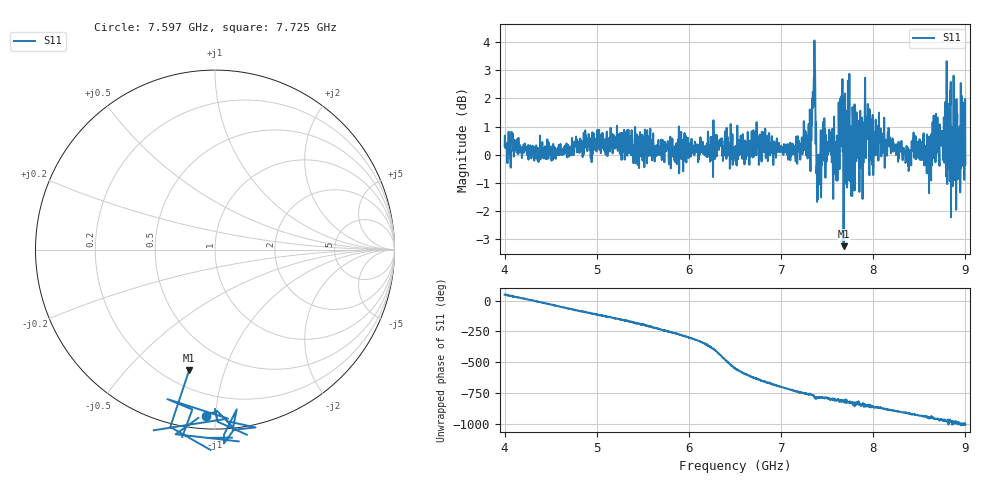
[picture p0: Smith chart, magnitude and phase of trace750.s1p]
! Created with skrf 1.8.0 (http://scikit-rf.org).
# Hz S RI R 50.0
!freq ReS11 ImS11
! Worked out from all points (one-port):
!   1601 points, 4 GHz to 9 GHz, reference 50 ohm
!   lowest |S11| = -3.3 dB at 7.678 GHz (marker M1), VSWR 5.39, Z = 15 - j38.2 ohm
!   |S11| at or under -10 dB: nowhere
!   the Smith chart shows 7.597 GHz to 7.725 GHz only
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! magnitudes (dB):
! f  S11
! 4 GHz  0.3
! 4.625 GHz  0.0
! 5.25 GHz  0.0
! 5.875 GHz  0.3
! 6.331 GHz  0.4
! 6.5 GHz  -0.1
! 6.725 GHz  0.6
! 7.125 GHz  0.4
! 7.294 GHz  0.3
! 7.347 GHz  2.1
! 7.362 GHz  4.1
! 7.409 GHz  -0.8
! 7.478 GHz  0.9
! 7.588 GHz  0.0
! 7.65 GHz  1.3
! 7.678 GHz  -3.3
! 7.75 GHz  -1.0
! 7.769 GHz  -1.1
! 7.928 GHz  0.6
! 7.981 GHz  0.2
! 8.05 GHz  0.5
! 8.375 GHz  0.0
! 8.441 GHz  0.1
! 8.603 GHz  -0.3
! 8.816 GHz  1.3
! 8.869 GHz  -0.3
! 8.972 GHz  0.5
! 9 GHz  -0.4
